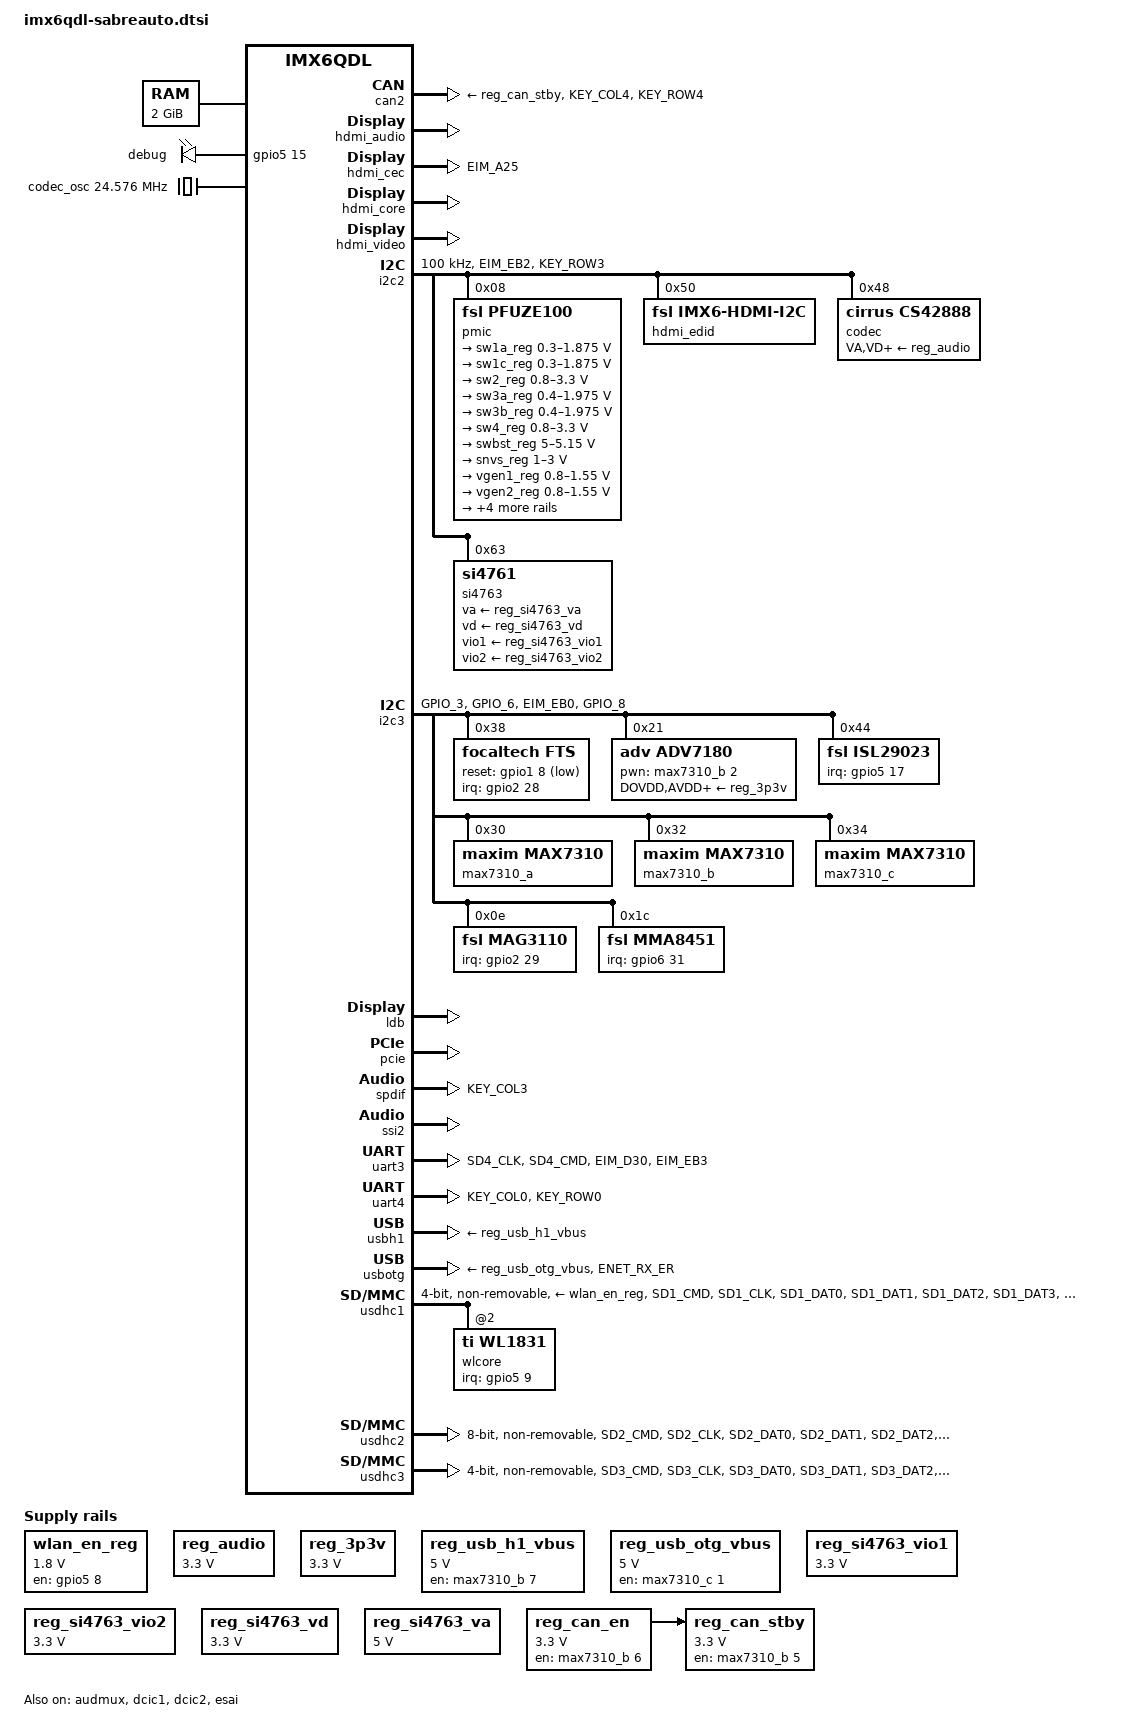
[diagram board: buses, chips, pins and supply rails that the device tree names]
/*
 * Copyright 2012-2015 Freescale Semiconductor, Inc.
 * Copyright 2011 Linaro Ltd.
 *
 * The code contained herein is licensed under the GNU General Public
 * License. You may obtain a copy of the GNU General Public License
 * Version 2 or later at the following locations:
 *
 * http://www.opensource.org/licenses/gpl-license.html
 * http://www.gnu.org/copyleft/gpl.html
 */

#include <dt-bindings/gpio/gpio.h>
#include <dt-bindings/input/input.h>

/ {
	aliases {
		mxcfb0 = &mxcfb1;
		mxcfb1 = &mxcfb2;
		mxcfb2 = &mxcfb3;
		mxcfb3 = &mxcfb4;
	};

	memory:	memory {
		reg = <0x10000000 0x80000000>;
	};

	wlan_en_reg: fixedregulator@2 {
		compatible = "regulator-fixed";
		regulator-name = "wlan-en-regulator";
		regulator-min-microvolt = <1800000>;
		regulator-max-microvolt = <1800000>;

		/* WLAN_EN GPIO for this board – Bank5, pin8 */
		gpio = <&gpio5 8 GPIO_ACTIVE_HIGH>;

		/* WLAN card specific delay */
		startup-delay-us = <70000>;
		enable-active-high;
	};

	leds {
		compatible = "gpio-leds";
		pinctrl-names = "default";
		pinctrl-0 = <&pinctrl_gpio_leds>;

		user {
			label = "debug";
			gpios = <&gpio5 15 GPIO_ACTIVE_HIGH>;
		};
	};

	clocks {
		codec_osc: anaclk2 {
			compatible = "fixed-clock";
			#clock-cells = <0>;
			clock-frequency = <24576000>;
		};
	};

	regulators {
		compatible = "simple-bus";
		#address-cells = <1>;
		#size-cells = <0>;

		reg_audio: regulator@0 {
			compatible = "regulator-fixed";
			reg = <0>;
			regulator-name = "cs42888_supply";
			regulator-min-microvolt = <3300000>;
			regulator-max-microvolt = <3300000>;
			regulator-always-on;
		};

		reg_3p3v: 3p3v {
			compatible = "regulator-fixed";
			regulator-name = "3P3V";
			regulator-min-microvolt = <3300000>;
			regulator-max-microvolt = <3300000>;
			regulator-always-on;
		};

		reg_usb_h1_vbus: regulator@1 {
			compatible = "regulator-fixed";
			reg = <1>;
			regulator-name = "usb_h1_vbus";
			regulator-min-microvolt = <5000000>;
			regulator-max-microvolt = <5000000>;
			gpio = <&max7310_b 7 GPIO_ACTIVE_HIGH>;
			enable-active-high;
		};

		reg_usb_otg_vbus: regulator@2 {
			compatible = "regulator-fixed";
			reg = <2>;
			regulator-name = "usb_otg_vbus";
			regulator-min-microvolt = <5000000>;
			regulator-max-microvolt = <5000000>;
			gpio = <&max7310_c 1 GPIO_ACTIVE_HIGH>;
			enable-active-high;
		};

		reg_si4763_vio1: regulator@3 {
			compatible = "regulator-fixed";
			reg = <3>;
			regulator-name = "vio1";
			regulator-min-microvolt = <3300000>;
			regulator-max-microvolt = <3300000>;
			regulator-always-on;
		};

		reg_si4763_vio2: regulator@4 {
			compatible = "regulator-fixed";
			reg = <4>;
			regulator-name = "vio2";
			regulator-min-microvolt = <3300000>;
			regulator-max-microvolt = <3300000>;
			regulator-always-on;
		};

		reg_si4763_vd: regulator@5 {
			compatible = "regulator-fixed";
			reg = <5>;
			regulator-name = "vd";
			regulator-min-microvolt = <3300000>;
			regulator-max-microvolt = <3300000>;
			regulator-always-on;
		};

		reg_si4763_va: regulator@6 {
			compatible = "regulator-fixed";
			reg = <6>;
			regulator-name = "va";
			regulator-min-microvolt = <5000000>;
			regulator-max-microvolt = <5000000>;
			regulator-always-on;
		};

		reg_sd3_vmmc: regulator@7 {
			compatible = "regulator-fixed";
			regulator-name = "P3V3_SDa_SWITCHED";
			regulator-min-microvolt = <3300000>;
			regulator-max-microvolt = <3300000>;
			gpio = <&gpio7 8 GPIO_ACTIVE_HIGH>;
			enable-active-high;
			off-on-delay = <20000>;
			/* remove below line to enable this regulator */
			status = "disabled";
		};

		reg_can_en: regulator@8 {
			compatible = "regulator-fixed";
			reg = <8>;
			regulator-name = "can-en";
			regulator-min-microvolt = <3300000>;
			regulator-max-microvolt = <3300000>;
			gpio = <&max7310_b 6 GPIO_ACTIVE_HIGH>;
			enable-active-high;
		};

		reg_can_stby: regulator@9 {
			compatible = "regulator-fixed";
			reg = <9>;
			regulator-name = "can-stby";
			regulator-min-microvolt = <3300000>;
			regulator-max-microvolt = <3300000>;
			gpio = <&max7310_b 5 GPIO_ACTIVE_HIGH>;
			enable-active-high;
			vin-supply = <&reg_can_en>;
		};
	};

	hannstar_cabc {
		compatible = "hannstar,cabc";

		lvds_share {
			gpios = <&max7310_a 0 GPIO_ACTIVE_HIGH>;
		};
	};

	sound-hdmi {
		compatible = "fsl,imx6q-audio-hdmi",
			     "fsl,imx-audio-hdmi";
		model = "imx-audio-hdmi";
		hdmi-controller = <&hdmi_audio>;
	};

	mxcfb1: fb@0 {
		compatible = "fsl,mxc_sdc_fb";
		disp_dev = "ldb";
		interface_pix_fmt = "RGB666";
		default_bpp = <16>;
		int_clk = <0>;
		late_init = <0>;
		status = "disabled";
	};

	mxcfb2: fb@1 {
		compatible = "fsl,mxc_sdc_fb";
		disp_dev = "hdmi";
		interface_pix_fmt = "RGB24";
		mode_str ="1920x1080M@60";
		default_bpp = <24>;
		int_clk = <0>;
		late_init = <0>;
		status = "disabled";
	};

	mxcfb3: fb@2 {
		compatible = "fsl,mxc_sdc_fb";
		disp_dev = "lcd";
		interface_pix_fmt = "RGB565";
		mode_str ="CLAA-WVGA";
		default_bpp = <16>;
		int_clk = <0>;
		late_init = <0>;
		status = "disabled";
	};

	mxcfb4: fb@3 {
		compatible = "fsl,mxc_sdc_fb";
		disp_dev = "ldb";
		interface_pix_fmt = "RGB666";
		default_bpp = <16>;
		int_clk = <0>;
		late_init = <0>;
		status = "disabled";
	};

	clocks {
		codec_osc: anaclk2 {
			compatible = "fixed-clock";
			#clock-cells = <0>;
			clock-frequency = <24576000>;
		};
	};

	sound-cs42888 {
		compatible = "fsl,imx6-sabreauto-cs42888",
				"fsl,imx-audio-cs42888";
		model = "imx-cs42888";
		esai-controller = <&esai>;
		asrc-controller = <&asrc>;
		audio-codec = <&codec>;
	};

	sound-fm {
		compatible = "fsl,imx-audio-si476x",
			   "fsl,imx-tuner-si476x";
		model = "imx-radio-si4763";
		ssi-controller = <&ssi2>;
		fm-controller = <&si476x_codec>;
		mux-int-port = <2>;
		mux-ext-port = <5>;
	};

	sound-spdif {
		compatible = "fsl,imx-audio-spdif",
			   "fsl,imx-sabreauto-spdif";
		model = "imx-spdif";
		spdif-controller = <&spdif>;
		spdif-in;
	};


	v4l2_cap_0 {
		compatible = "fsl,imx6q-v4l2-capture";
		ipu_id = <0>;
		csi_id = <0>;
		mclk_source = <0>;
		status = "okay";
	};

	v4l2_out {
		compatible = "fsl,mxc_v4l2_output";
		status = "okay";
	};
};

&audmux {
	pinctrl-names = "default";
	pinctrl-0 = <&pinctrl_audmux>;
	status = "okay";
};

&clks {
	assigned-clocks = <&clks IMX6QDL_PLL4_BYPASS_SRC>,
			  <&clks IMX6QDL_PLL4_BYPASS>,
			  <&clks IMX6QDL_CLK_LDB_DI0_SEL>,
			  <&clks IMX6QDL_CLK_LDB_DI1_SEL>,
			  <&clks IMX6QDL_CLK_PLL4_POST_DIV>;
	assigned-clock-parents = <&clks IMX6QDL_CLK_LVDS2_IN>,
				 <&clks IMX6QDL_PLL4_BYPASS_SRC>,
				 <&clks IMX6QDL_CLK_PLL2_PFD0_352M>,
				 <&clks IMX6QDL_CLK_PLL2_PFD0_352M>;
	assigned-clock-rates = <0>, <0>, <0>, <0>, <24576000>;
};

&dcic1 {
	dcic_id = <0>;
	dcic_mux = "dcic-hdmi";
	status = "okay";
};

&dcic2 {
	dcic_id = <1>;
	dcic_mux = "dcic-lvds0";
	status = "okay";
};

&ecspi1 {
	fsl,spi-num-chipselects = <1>;
	cs-gpios = <&gpio3 19 0>;
	pinctrl-names = "default";
	pinctrl-0 = <&pinctrl_ecspi1 &pinctrl_ecspi1_cs>;
	status = "disabled"; /* pin conflict with WEIM NOR */

	flash: m25p80@0 {
		#address-cells = <1>;
		#size-cells = <1>;
		compatible = "st,m25p32", "jedec,spi-nor";
		spi-max-frequency = <20000000>;
		reg = <0>;
	};
};

&esai {
	pinctrl-names = "default";
	pinctrl-0 = <&pinctrl_esai>;
	assigned-clocks = <&clks IMX6QDL_CLK_ESAI_SEL>,
			  <&clks IMX6QDL_CLK_ESAI_EXTAL>;
	assigned-clock-parents = <&clks IMX6QDL_CLK_PLL4_AUDIO_DIV>;
	assigned-clock-rates = <0>, <24576000>;
	status = "okay";
};

&can1 {
	pinctrl-names = "default";
	pinctrl-0 = <&pinctrl_flexcan1>;
	pinctrl-assert-gpios = <&max7310_b 3 GPIO_ACTIVE_HIGH>; /* TX */
	xceiver-supply = <&reg_can_stby>;
	status = "disabled"; /* pin conflict with fec */
};

&can2 {
	pinctrl-names = "default";
	pinctrl-0 = <&pinctrl_flexcan2>;
	xceiver-supply = <&reg_can_stby>;
	status = "okay";
};

&gpmi {
	pinctrl-names = "default";
	pinctrl-0 = <&pinctrl_gpmi_nand>;
	status = "disabled"; /* pin conflict with uart3 */
	nand-on-flash-bbt;
};

&hdmi_audio {
	status = "okay";
};

&hdmi_cec {
	pinctrl-names = "default";
	pinctrl-0 = <&pinctrl_hdmi_cec>;
	status = "okay";
};

&hdmi_core {
	ipu_id = <0>;
	disp_id = <1>;
	status = "okay";
};

&hdmi_video {
	fsl,phy_reg_vlev = <0x0294>;
	fsl,phy_reg_cksymtx = <0x800d>;
	status = "okay";
};

&i2c2 {
	clock-frequency = <100000>;
	pinctrl-names = "default";
	pinctrl-0 = <&pinctrl_i2c2>;
	status = "okay";

	pmic: pfuze100@08 {
		compatible = "fsl,pfuze100";
		reg = <0x08>;

		regulators {
			sw1a_reg: sw1ab {
				regulator-min-microvolt = <300000>;
				regulator-max-microvolt = <1875000>;
				regulator-boot-on;
				regulator-always-on;
				regulator-ramp-delay = <6250>;
			};

			sw1c_reg: sw1c {
				regulator-min-microvolt = <300000>;
				regulator-max-microvolt = <1875000>;
				regulator-boot-on;
				regulator-always-on;
				regulator-ramp-delay = <6250>;
			};

			sw2_reg: sw2 {
				regulator-min-microvolt = <800000>;
				regulator-max-microvolt = <3300000>;
				regulator-boot-on;
				regulator-always-on;
			};

			sw3a_reg: sw3a {
				regulator-min-microvolt = <400000>;
				regulator-max-microvolt = <1975000>;
				regulator-boot-on;
				regulator-always-on;
			};

			sw3b_reg: sw3b {
				regulator-min-microvolt = <400000>;
				regulator-max-microvolt = <1975000>;
				regulator-boot-on;
				regulator-always-on;
			};

			sw4_reg: sw4 {
				regulator-min-microvolt = <800000>;
				regulator-max-microvolt = <3300000>;
			};

			swbst_reg: swbst {
				regulator-min-microvolt = <5000000>;
				regulator-max-microvolt = <5150000>;
			};

			snvs_reg: vsnvs {
				regulator-min-microvolt = <1000000>;
				regulator-max-microvolt = <3000000>;
				regulator-boot-on;
				regulator-always-on;
			};

			vref_reg: vrefddr {
				regulator-boot-on;
				regulator-always-on;
			};

			vgen1_reg: vgen1 {
				regulator-min-microvolt = <800000>;
				regulator-max-microvolt = <1550000>;
			};

			vgen2_reg: vgen2 {
				regulator-min-microvolt = <800000>;
				regulator-max-microvolt = <1550000>;
			};

			vgen3_reg: vgen3 {
				regulator-min-microvolt = <1800000>;
				regulator-max-microvolt = <3300000>;
			};

			vgen4_reg: vgen4 {
				regulator-min-microvolt = <1800000>;
				regulator-max-microvolt = <3300000>;
				regulator-always-on;
			};

			vgen5_reg: vgen5 {
				regulator-min-microvolt = <1800000>;
				regulator-max-microvolt = <3300000>;
				regulator-always-on;
			};

			vgen6_reg: vgen6 {
				regulator-min-microvolt = <1800000>;
				regulator-max-microvolt = <3300000>;
				regulator-always-on;
			};
		};
	};

	hdmi_edid: edid@50 {
		compatible = "fsl,imx6-hdmi-i2c";
		reg = <0x50>;
	};

	codec: cs42888@48 {
		compatible = "cirrus,cs42888";
		reg = <0x48>;
		clocks = <&codec_osc>;
		clock-names = "mclk";
		VA-supply = <&reg_audio>;
		VD-supply = <&reg_audio>;
		VLS-supply = <&reg_audio>;
		VLC-supply = <&reg_audio>;
        };

	si4763: si4763@63 {
		compatible = "si4761";
		reg = <0x63>;
		va-supply = <&reg_si4763_va>;
		vd-supply = <&reg_si4763_vd>;
		vio1-supply = <&reg_si4763_vio1>;
		vio2-supply = <&reg_si4763_vio2>;
		revision-a10; /* set to default A10 compatible command set */

		si476x_codec: si476x-codec {
			compatible = "si476x-codec";
		};
	};
};

&i2c3 {
	pinctrl-names = "default", "sleep";
	pinctrl-0 = <&pinctrl_i2c3 &pinctrl_focaltech>;
	pinctrl-1 = <&pinctrl_i2c3 &pinctrl_focaltech>;
	status = "okay";

	focaltech@38{
		compatible = "focaltech,fts";
		reg = <0x38>;
		interrupt-parent = <&gpio2>;
		interrupts = <28 0x02>;
		focaltech,panel-type = <FT5426>;
		focaltech,reset-gpio = <&gpio1 8 0x01>;
		focaltech,irq-gpio = <&gpio2 28 0x02>;
		focaltech,max-touch-number = <5>;
		focaltech,display-coords =  <0 0 1020 596>;

		focaltech,have-key;
		focaltech,key-number = <3>;
		focaltech,keys = <139 102 158>;
		focaltech,key-y-coord = <2000>;
		focaltech,key-x-coords = <200 600 800>;
	};

	adv7180: adv7180@21 {
		compatible = "adv,adv7180";
		reg = <0x21>;
		pinctrl-names = "default";
		pinctrl-0 = <&pinctrl_ipu1_1>;
		clocks = <&clks IMX6QDL_CLK_CKO>;
		clock-names = "csi_mclk";
		DOVDD-supply = <&reg_3p3v>; /* 3.3v, enabled via 2.8 VGEN6 */
		AVDD-supply = <&reg_3p3v>;  /* 1.8v */
		DVDD-supply = <&reg_3p3v>;  /* 1.8v */
		PVDD-supply = <&reg_3p3v>;  /* 1.8v */
		pwn-gpios = <&max7310_b 2 0>;
		csi_id = <0>;
		mclk = <24000000>;
		mclk_source = <0>;
		cvbs = <1>;
	};

	isl29023@44 {
		compatible = "fsl,isl29023";
		reg = <0x44>;
		rext = <499>;
		interrupt-parent = <&gpio5>;
		interrupts = <17 2>;
	};

	max7310_a: gpio@30 {
		compatible = "maxim,max7310";
		reg = <0x30>;
		gpio-controller;
		#gpio-cells = <2>;
	};

	max7310_b: gpio@32 {
		compatible = "maxim,max7310";
		reg = <0x32>;
		gpio-controller;
		#gpio-cells = <2>;
	};

	max7310_c: gpio@34 {
		compatible = "maxim,max7310";
		reg = <0x34>;
		gpio-controller;
		#gpio-cells = <2>;
	};

	mag3110@0e {
		compatible = "fsl,mag3110";
		reg = <0x0e>;
		position = <2>;
		interrupt-parent = <&gpio2>;
		interrupts = <29 1>;
	};

	mma8451@1c {
		compatible = "fsl,mma8451";
		reg = <0x1c>;
		position = <7>;
		interrupt-parent = <&gpio6>;
		interrupts = <31 8>;
		interrupt-route = <1>;
	};
};

&iomuxc {
	pinctrl-names = "default";
	pinctrl-0 = <&pinctrl_hog>;

	imx6qdl-sabreauto {
                pinctrl_audmux: audmux {
                        fsl,pins = <
                                MX6QDL_PAD_DISP0_DAT16__AUD5_TXC  0x130b0
                                MX6QDL_PAD_DISP0_DAT18__AUD5_TXFS 0x130b0
                                MX6QDL_PAD_DISP0_DAT19__AUD5_RXD  0x130b0
                        >;
                };

		pinctrl_hog: hoggrp {
			fsl,pins = <
				/*MX6QDL_PAD_NANDF_CS2__GPIO6_IO15 0x1f059*/
				/*MX6QDL_PAD_SD2_DAT2__GPIO1_IO13  0x80000000*/
				/*MX6QDL_PAD_GPIO_18__SD3_VSELECT 0x17059 */
				/*MX6QDL_PAD_EIM_A24__GPIO5_IO04   0x80000000*/
				MX6QDL_PAD_DISP0_DAT13__GPIO5_IO07 0x13059
				MX6QDL_PAD_EIM_DA14__GPIO3_IO14  0x80000000
				MX6QDL_PAD_EIM_BCLK__GPIO6_IO31 0x80000000
				/*MX6QDL_PAD_EIM_EB1__GPIO2_IO29	0x80000000*/
				/*MX6QDL_PAD_DISP0_DAT23__GPIO5_IO17 0x80000000 */
				MX6QDL_PAD_SD3_RST__GPIO7_IO08 0x80000000
				/* MX6QDL_PAD_CSI0_DATA_EN__GPIO5_IO20 0x17059 */
				/*MX6QDL_PAD_GPIO_1__GPIO1_IO01 0x17059 */
			>;
		};

		pinctrl_ecspi1: ecspi1grp {
			fsl,pins = <
				MX6QDL_PAD_EIM_D17__ECSPI1_MISO		0x100b1
				MX6QDL_PAD_EIM_D18__ECSPI1_MOSI		0x100b1
				MX6QDL_PAD_EIM_D16__ECSPI1_SCLK		0x100b1
			>;
		};

		pinctrl_ecspi1_cs: ecspi1cs {
			fsl,pins = <
				MX6QDL_PAD_EIM_D19__GPIO3_IO19 0x80000000
			>;
		};

		pinctrl_focaltech: focaltechgrp {
	        fsl,pins = <
	            MX6QDL_PAD_EIM_EB0__GPIO2_IO28       0x1b0b0  /* Interrupt */
	            MX6QDL_PAD_GPIO_8__GPIO1_IO08        0x1b0b0  /* Reset */
	        >;
		};

		pinctrl_esai: esaigrp {
			fsl,pins = <
				MX6QDL_PAD_ENET_CRS_DV__ESAI_TX_CLK 0x1b030
				MX6QDL_PAD_ENET_RXD1__ESAI_TX_FS    0x1b030
				MX6QDL_PAD_ENET_TX_EN__ESAI_TX3_RX2 0x1b030
				MX6QDL_PAD_GPIO_5__ESAI_TX2_RX3     0x1b030
				MX6QDL_PAD_ENET_TXD0__ESAI_TX4_RX1  0x1b030
				MX6QDL_PAD_ENET_MDC__ESAI_TX5_RX0   0x1b030
				MX6QDL_PAD_GPIO_17__ESAI_TX0        0x1b030
				MX6QDL_PAD_NANDF_CS3__ESAI_TX1      0x1b030
				MX6QDL_PAD_ENET_MDIO__ESAI_RX_CLK   0x1b030
				MX6QDL_PAD_GPIO_9__ESAI_RX_FS       0x1b030
			>;
		};

		pinctrl_flexcan1: flexcan1grp {
			fsl,pins = <
				MX6QDL_PAD_KEY_ROW2__FLEXCAN1_RX        0x17059
				MX6QDL_PAD_KEY_COL2__FLEXCAN1_TX	0x17059
			>;
		};

		pinctrl_flexcan2: flexcan2grp {
			fsl,pins = <
				MX6QDL_PAD_KEY_COL4__FLEXCAN2_TX	0x17059
				MX6QDL_PAD_KEY_ROW4__FLEXCAN2_RX	0x17059
			>;
		};

		pinctrl_gpio_leds: gpioledsgrp {
			fsl,pins = <
				MX6QDL_PAD_DISP0_DAT21__GPIO5_IO15	0x80000000
			>;
		};

		pinctrl_gpmi_nand: gpminandgrp {
			fsl,pins = <
				MX6QDL_PAD_NANDF_CLE__NAND_CLE		0xb0b1
				MX6QDL_PAD_NANDF_ALE__NAND_ALE		0xb0b1
				MX6QDL_PAD_NANDF_WP_B__NAND_WP_B	0xb0b1
				MX6QDL_PAD_NANDF_RB0__NAND_READY_B	0xb000
				MX6QDL_PAD_NANDF_CS0__NAND_CE0_B	0xb0b1
				MX6QDL_PAD_NANDF_CS1__NAND_CE1_B	0xb0b1
				MX6QDL_PAD_SD4_CMD__NAND_RE_B		0xb0b1
				MX6QDL_PAD_SD4_CLK__NAND_WE_B		0xb0b1
				MX6QDL_PAD_NANDF_D0__NAND_DATA00	0xb0b1
				MX6QDL_PAD_NANDF_D1__NAND_DATA01	0xb0b1
				MX6QDL_PAD_NANDF_D2__NAND_DATA02	0xb0b1
				MX6QDL_PAD_NANDF_D3__NAND_DATA03	0xb0b1
				MX6QDL_PAD_NANDF_D4__NAND_DATA04	0xb0b1
				MX6QDL_PAD_NANDF_D5__NAND_DATA05	0xb0b1
				MX6QDL_PAD_NANDF_D6__NAND_DATA06	0xb0b1
				MX6QDL_PAD_NANDF_D7__NAND_DATA07	0xb0b1
				MX6QDL_PAD_SD4_DAT0__NAND_DQS		0x00b1
			>;
		};

		pinctrl_i2c2: i2c2grp {
			fsl,pins = <
				MX6QDL_PAD_EIM_EB2__I2C2_SCL	0x4001b8b1
				MX6QDL_PAD_KEY_ROW3__I2C2_SDA	0x4001b8b1
			>;
		};

		pinctrl_ipu1_1: ipu1grp-1 { /* parallel port 16-bit */
			fsl,pins = <
				MX6QDL_PAD_CSI0_DAT4__IPU1_CSI0_DATA04   0x80000000
				MX6QDL_PAD_CSI0_DAT5__IPU1_CSI0_DATA05   0x80000000
				MX6QDL_PAD_CSI0_DAT6__IPU1_CSI0_DATA06   0x80000000
				MX6QDL_PAD_CSI0_DAT7__IPU1_CSI0_DATA07   0x80000000
				MX6QDL_PAD_CSI0_DAT8__IPU1_CSI0_DATA08   0x80000000
				MX6QDL_PAD_CSI0_DAT9__IPU1_CSI0_DATA09   0x80000000
				MX6QDL_PAD_CSI0_DAT10__IPU1_CSI0_DATA10  0x80000000
				MX6QDL_PAD_CSI0_DAT11__IPU1_CSI0_DATA11  0x80000000
				MX6QDL_PAD_CSI0_DAT12__IPU1_CSI0_DATA12  0x80000000
				MX6QDL_PAD_CSI0_DAT13__IPU1_CSI0_DATA13  0x80000000
				MX6QDL_PAD_CSI0_DAT14__IPU1_CSI0_DATA14  0x80000000
				MX6QDL_PAD_CSI0_DAT15__IPU1_CSI0_DATA15  0x80000000
				MX6QDL_PAD_CSI0_DAT16__IPU1_CSI0_DATA16  0x80000000
				MX6QDL_PAD_CSI0_DAT17__IPU1_CSI0_DATA17  0x80000000
				MX6QDL_PAD_CSI0_DAT18__IPU1_CSI0_DATA18  0x80000000
				MX6QDL_PAD_CSI0_DAT19__IPU1_CSI0_DATA19  0x80000000
				MX6QDL_PAD_CSI0_PIXCLK__IPU1_CSI0_PIXCLK 0x80000000
				MX6QDL_PAD_CSI0_MCLK__IPU1_CSI0_HSYNC    0x80000000
				MX6QDL_PAD_CSI0_VSYNC__IPU1_CSI0_VSYNC   0x80000000
			>;
		};

		pinctrl_i2c3: i2c3grp {
			fsl,pins = <
				MX6QDL_PAD_GPIO_3__I2C3_SCL  0x4001b8b1
				MX6QDL_PAD_GPIO_6__I2C3_SDA  0x4001b8b1
			>;
		};


		pinctrl_spdif: spdifgrp {
			fsl,pins = <
				MX6QDL_PAD_KEY_COL3__SPDIF_IN 0x1b0b0
			>;
		};

		pinctrl_uart3_1: uart3grp-1 {
			fsl,pins = <
				MX6QDL_PAD_SD4_CLK__UART3_RX_DATA	0x1b0b1
				MX6QDL_PAD_SD4_CMD__UART3_TX_DATA	0x1b0b1
				MX6QDL_PAD_EIM_D30__UART3_CTS_B		0x1b0b1
				MX6QDL_PAD_EIM_EB3__UART3_RTS_B		0x1b0b1
			>;
		};

		pinctrl_uart3dte_1: uart3dtegrp-1 {
			fsl,pins = <
				MX6QDL_PAD_SD4_CLK__UART3_TX_DATA	0x1b0b1
				MX6QDL_PAD_SD4_CMD__UART3_RX_DATA	0x1b0b1
				MX6QDL_PAD_EIM_D30__UART3_RTS_B		0x1b0b1
				MX6QDL_PAD_EIM_EB3__UART3_CTS_B		0x1b0b1
			>;
		};

		pinctrl_uart4: uart4grp {
			fsl,pins = <
				MX6QDL_PAD_KEY_COL0__UART4_TX_DATA	0x1b0b1
				MX6QDL_PAD_KEY_ROW0__UART4_RX_DATA	0x1b0b1
			>;
		};

		pinctrl_usbotg: usbotggrp {
			fsl,pins = <
				MX6QDL_PAD_ENET_RX_ER__USB_OTG_ID 0x17059
			>;
		};

		pinctrl_usdhc1: usdhc1grp {
			fsl,pins = <
				MX6QDL_PAD_SD1_CMD__SD1_CMD		0x17069
				MX6QDL_PAD_SD1_CLK__SD1_CLK		0x10069
				MX6QDL_PAD_SD1_DAT0__SD1_DATA0		0x17069
				MX6QDL_PAD_SD1_DAT1__SD1_DATA1		0x17069
				MX6QDL_PAD_SD1_DAT2__SD1_DATA2		0x17069
				MX6QDL_PAD_SD1_DAT3__SD1_DATA3		0x17069
				MX6QDL_PAD_DISP0_DAT14__GPIO5_IO08  0x13059 // reserve two pins wl8 gpio, this is pulled low at reset for WL_EN
				MX6QDL_PAD_DISP0_DAT15__GPIO5_IO09  0x13059 // this is for WL_IRQ which driver will configure as an input with a pull down
			>;
		};

		pinctrl_usdhc2: usdhc2grp {
			fsl,pins = <
				MX6QDL_PAD_SD2_CMD__SD2_CMD		0x17059
				MX6QDL_PAD_SD2_CLK__SD2_CLK		0x10059
				MX6QDL_PAD_SD2_DAT0__SD2_DATA0		0x17059
				MX6QDL_PAD_SD2_DAT1__SD2_DATA1		0x17059
				MX6QDL_PAD_SD2_DAT2__SD2_DATA2		0x17059
				MX6QDL_PAD_SD2_DAT3__SD2_DATA3		0x17059
				MX6QDL_PAD_NANDF_D4__SD2_DATA4		0x17059
				MX6QDL_PAD_NANDF_D5__SD2_DATA5		0x17059
				MX6QDL_PAD_NANDF_D6__SD2_DATA6		0x17059
				MX6QDL_PAD_NANDF_D7__SD2_DATA7		0x17059
			>;
		};

		pinctrl_usdhc3: usdhc3grp {
			fsl,pins = <
				MX6QDL_PAD_SD3_CMD__SD3_CMD		0x17059
				MX6QDL_PAD_SD3_CLK__SD3_CLK		0x10059
				MX6QDL_PAD_SD3_DAT0__SD3_DATA0		0x17059
				MX6QDL_PAD_SD3_DAT1__SD3_DATA1		0x17059
				MX6QDL_PAD_SD3_DAT2__SD3_DATA2		0x17059
				MX6QDL_PAD_SD3_DAT3__SD3_DATA3		0x17059
			>;
		};

		pinctrl_usdhc3_100mhz: usdhc3grp100mhz {
			fsl,pins = <
				MX6QDL_PAD_SD3_CMD__SD3_CMD		0x170b9
				MX6QDL_PAD_SD3_CLK__SD3_CLK		0x100b9
				MX6QDL_PAD_SD3_DAT0__SD3_DATA0		0x170b9
				MX6QDL_PAD_SD3_DAT1__SD3_DATA1		0x170b9
				MX6QDL_PAD_SD3_DAT2__SD3_DATA2		0x170b9
				MX6QDL_PAD_SD3_DAT3__SD3_DATA3		0x170b9
			>;
		};

		pinctrl_usdhc3_200mhz: usdhc3grp200mhz {
			fsl,pins = <
				MX6QDL_PAD_SD3_CMD__SD3_CMD		0x170f9
				MX6QDL_PAD_SD3_CLK__SD3_CLK		0x100f9
				MX6QDL_PAD_SD3_DAT0__SD3_DATA0		0x170f9
				MX6QDL_PAD_SD3_DAT1__SD3_DATA1		0x170f9
				MX6QDL_PAD_SD3_DAT2__SD3_DATA2		0x170f9
				MX6QDL_PAD_SD3_DAT3__SD3_DATA3		0x170f9

			>;
		};

		pinctrl_hdmi_cec: hdmicecgrp {
			fsl,pins = <
				MX6QDL_PAD_EIM_A25__HDMI_TX_CEC_LINE 0x1f8b0
			>;
		};
	};
};

&ldb {
	status = "okay";

	lvds-channel@0 {
		fsl,data-mapping = "spwg";
		fsl,data-width = <24>;
		primary;
		status = "okay";

		display-timings {
			native-mode = <&timing0>;
			timing0: hsd100pxn1 {
				clock-frequency = <51200000>;
				hactive = <1024>;
				vactive = <600>;
				hback-porch = <220>;
				hfront-porch = <40>;
				vback-porch = <20>;
				vfront-porch = <5>;
				hsync-len = <60>;
				vsync-len = <10>;
			};
		};
	};

	lvds-channel@1 {
		fsl,data-mapping = "spwg";
		fsl,data-width = <24>;
		status = "okay";

		display-timings {
			native-mode = <&timing1>;
			timing1: hsd100pxn1 {
				clock-frequency = <51200000>;
				hactive = <1024>;
				vactive = <600>;
				hback-porch = <220>;
				hfront-porch = <40>;
				vback-porch = <20>;
				vfront-porch = <5>;
				hsync-len = <60>;
				vsync-len = <10>;
			};
		};
	};
};

&pcie {
	status = "okay";
};

&spdif {
	pinctrl-names = "default";
	pinctrl-0 = <&pinctrl_spdif>;
	assigned-clocks = <&clks IMX6QDL_CLK_SPDIF_SEL>,
			  <&clks IMX6QDL_CLK_SPDIF_PODF>;
	assigned-clock-parents = <&clks IMX6QDL_CLK_PLL3_PFD3_454M>;
	assigned-clock-rates = <0>, <227368421>;
	status = "okay";
};

&snvs_poweroff {
	status = "okay";
};

&ssi2 {
	assigned-clocks = <&clks IMX6QDL_CLK_SSI2_SEL>;
	assigned-clock-parents = <&clks IMX6QDL_CLK_PLL4_AUDIO_DIV>;
	assigned-clock-rates = <0>;
	fsl,mode = "i2s-master";
	status = "okay";
};

&uart3 {
	pinctrl-names = "default";
	pinctrl-0 = <&pinctrl_uart3_1>;
	pinctrl-assert-gpios = <&max7310_b 4 GPIO_ACTIVE_HIGH>, /* CTS */
			       <&max7310_c 3 GPIO_ACTIVE_HIGH>; /* RXD and TXD */
	fsl,uart-has-rtscts;
	status = "okay";
	/* for DTE mode, add below change */
	/* fsl,dte-mode; */
	/* pinctrl-0 = <&pinctrl_uart3dte_1>; */
};

/* Console Uart */
&uart4 {
	pinctrl-names = "default";
	pinctrl-0 = <&pinctrl_uart4>;
	status = "okay";
};

&usbh1 {
	vbus-supply = <&reg_usb_h1_vbus>;
	status = "okay";
};

&usbotg {
	vbus-supply = <&reg_usb_otg_vbus>;
	pinctrl-names = "default";
	pinctrl-0 = <&pinctrl_usbotg>;
	srp-disable;
	hnp-disable;
	adp-disable;
	status = "okay";
};

&usdhc1 {
	pinctrl-names = "default";
	pinctrl-0 = <&pinctrl_usdhc1>;
	bus-width = <4>;
	no-1-8-v;
	keep-power-in-suspend;
	enable-sdio-wakeup;
	vmmc-supply = <&wlan_en_reg>;
	non-removable;    /* non-removable is not a variable, the fact it is */
	                  /* listed is all that is used by driver  */
	cap-power-off-card;
	status = "okay";
	#address-cells = <1>;
	#size-cells = <0>;
	wlcore: wlcore@0 {
		compatible = "ti,wl1831";
		reg = <2>;
		interrupt-parent = <&gpio5>;
		interrupts = <9 1>;
		ref-clock-frequency = <38400000>;
		tcxo-clock-frequency = <26000000>;
	};
};

&usdhc2 {
	pinctrl-names = "default";
	pinctrl-0 = <&pinctrl_usdhc2>;
	bus-width = <8>;
	non-removable;
	no-1-8-v;
	keep-power-in-suspend;
	status = "okay";
};

&usdhc3 {
	pinctrl-names = "default", "state_100mhz", "state_200mhz";
	pinctrl-0 = <&pinctrl_usdhc3>;
	pinctrl-1 = <&pinctrl_usdhc3_100mhz>;
	pinctrl-2 = <&pinctrl_usdhc3_200mhz>;
	bus-width = <4>;
	non-removable;
	no-1-8-v;
	/*
	 * Due to board issue, we can not use external regulator for card slot
	 * by default since the card power is shared with card detect pullup.
	 * Disabling the vmmc regulator will cause unexpected card detect
	 * interrupts.
	 * HW rework is needed to fix this isssue. Remove R695 first, then you
	 * can open below line to enable the using of external regulator.
	 * Then you will be able to power off the card during suspend. This is
	 * especially needed for a SD3.0 card re-enumeration working on UHS mode
	 * Note: reg_sd3_vmmc is also need to be enabled
	 */
	/* vmmc-supply = <&reg_sd3_vmmc>; */
	keep-power-in-suspend;
	enable-sdio-wakeup;
	status = "okay";
};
